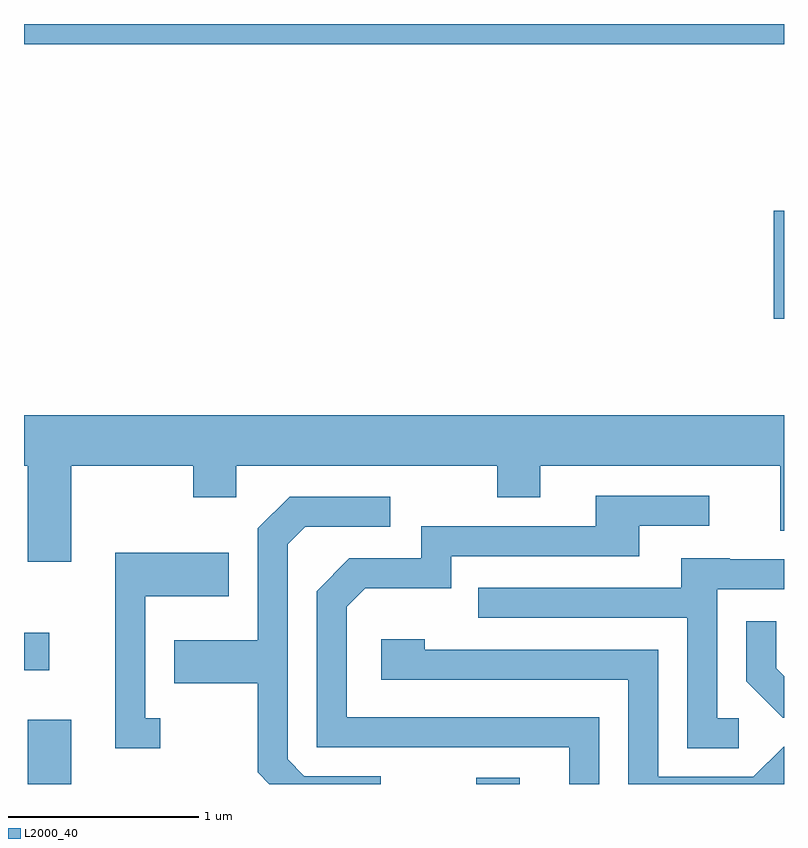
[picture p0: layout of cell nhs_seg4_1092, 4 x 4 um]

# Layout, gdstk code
import gdstk
lib = gdstk.Library(unit=1e-6, precision=1e-09)
def R(c, l, rs):  # rectangles x0, y0, x1, y1
    for r in rs: c.add(gdstk.rectangle(r[:2], r[2:], *l))
def P(c, l, *ps):  # polygons
    for p in ps: c.add(gdstk.Polygon(p, *l))
L2000_40 = (2000, 40)

nhs_seg4_1092 = lib.new_cell('nhs_seg4_1092')
R(nhs_seg4_1092, L2000_40, [(217.631,1261.982,217.859,1262.319), (219.991,1261.982,220.219,1262.014), (217.611,1262.581,217.744,1262.779), (221.556,1264.431,221.611,1264.999), (217.611,1265.876,221.611,1265.982)])
P(nhs_seg4_1092, L2000_40, [(217.859,1263.656),(218.501,1263.656),(218.501,1263.491),(218.729,1263.491),(218.729,1263.656),(220.101,1263.656),(220.101,1263.491),(220.329,1263.491),(220.329,1263.656),(221.591,1263.656),(221.591,1263.316),(221.611,1263.316),(221.611,1263.924),(217.611,1263.924),(217.611,1263.656),(217.631,1263.656),(217.631,1263.151),(217.859,1263.151)],
  [(220.639,1262.334),(219.309,1262.334),(219.309,1262.914),(219.407,1263.011),(219.859,1263.011),(219.859,1263.181),(220.849,1263.181),(220.849,1263.341),(221.218,1263.341),(221.218,1263.499),(220.621,1263.499),(220.621,1263.339),(219.701,1263.339),(219.701,1263.169),(219.324,1263.169),(219.151,1262.997),(219.151,1262.176),(220.481,1262.176),(220.481,1261.982),(220.639,1261.982)],
  [(219.488,1262.024),(219.087,1262.024),(218.999,1262.112),(218.999,1263.244),(219.092,1263.336),(219.538,1263.336),(219.538,1263.494),(219.009,1263.494),(218.841,1263.327),(218.841,1262.739),(218.401,1262.739),(218.401,1262.511),(218.841,1262.511),(218.841,1262.044),(218.903,1261.982),(219.488,1261.982)],
  [(218.328,1262.329),(218.249,1262.329),(218.249,1262.971),(218.689,1262.971),(218.689,1263.199),(218.091,1263.199),(218.091,1262.171),(218.328,1262.171)],
  [(221.373,1262.329),(221.259,1262.329),(221.259,1263.006),(221.611,1263.006),(221.611,1263.164),(221.325,1263.164),(221.325,1263.169),(221.071,1263.169),(221.071,1263.014),(220.003,1263.014),(220.003,1262.856),(221.101,1262.856),(221.101,1262.171),(221.373,1262.171)],
  [(221.611,1262.55),(221.569,1262.592),(221.569,1262.838),(221.411,1262.838),(221.411,1262.524),(221.604,1262.331),(221.611,1262.331)],
  [(221.611,1262.179),(221.609,1262.179),(221.449,1262.019),(220.949,1262.019),(220.949,1262.689),(219.719,1262.689),(219.719,1262.744),(219.491,1262.744),(219.491,1262.531),(220.791,1262.531),(220.791,1261.982),(221.611,1261.982)])

lib.write_gds('nhs_seg4_1092.gds')
